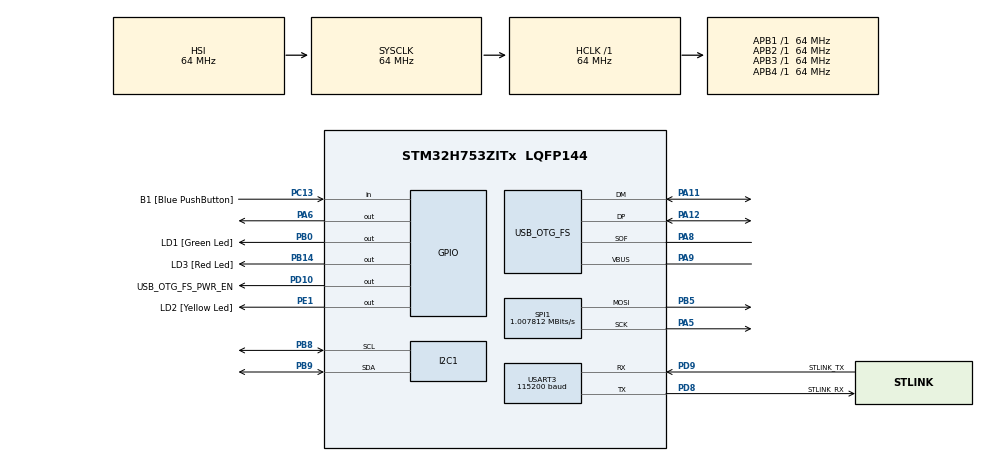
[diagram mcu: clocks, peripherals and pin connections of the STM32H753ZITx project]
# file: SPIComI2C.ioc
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CORTEX_M7.CPU_DCache=Disabled
CORTEX_M7.CPU_ICache=Disabled
CORTEX_M7.MPU_Control=__NULL
Mcu.Family=STM32H7
Mcu.Name=STM32H753ZITx
Mcu.Package=LQFP144
NVIC.I2C1_ER_IRQn=true\:0\:0\:false\:false\:true\:true\:true\:true
NVIC.I2C1_EV_IRQn=true\:0\:0\:false\:false\:true\:true\:true\:true
NVIC.PriorityGroup=NVIC_PRIORITYGROUP_4
NVIC.SPI1_IRQn=true\:0\:0\:false\:false\:true\:true\:true\:true
PA1.Signal=ETH_REF_CLK
PA11.Mode=Device_Only
PA11.Signal=USB_OTG_FS_DM
PA12.Mode=Device_Only
PA12.Signal=USB_OTG_FS_DP
PA2.Signal=ETH_MDIO
PA5.GPIO_Speed=GPIO_SPEED_FREQ_LOW
PA5.Mode=TX_Only_Simplex_Unidirect_Master
PA5.Signal=SPI1_SCK
PA6.GPIO_Speed=GPIO_SPEED_FREQ_VERY_HIGH
PA6.PinState=GPIO_PIN_SET
PA6.Signal=GPIO_Output
PA8.Mode=Activate_SOF_FS
PA8.Signal=USB_OTG_FS_SOF
PA9.Mode=Activate_VBUS
PA9.Signal=USB_OTG_FS_VBUS
PB0.GPIO_Label=LD1 [Green Led]
PB0.Signal=GPIO_Output
PB13.Signal=ETH_TXD1
PB14.GPIO_Label=LD3 [Red Led]
PB14.Signal=GPIO_Output
PB5.GPIO_Speed=GPIO_SPEED_FREQ_LOW
PB5.Mode=TX_Only_Simplex_Unidirect_Master
PB5.Signal=SPI1_MOSI
PB8.GPIO_Speed=GPIO_SPEED_FREQ_VERY_HIGH
PB8.Mode=I2C
PB8.Signal=I2C1_SCL
PB9.GPIO_Speed=GPIO_SPEED_FREQ_VERY_HIGH
PB9.Mode=I2C
PB9.Signal=I2C1_SDA
PC1.Signal=ETH_MDC
PC13.GPIO_Label=B1 [Blue PushButton]
PC13.Signal=GPIO_Input
PC14-OSC32_IN\ (OSC32_IN).Mode=LSE-External-Oscillator
PC14-OSC32_IN\ (OSC32_IN).Signal=RCC_OSC32_IN
PC15-OSC32_OUT\ (OSC32_OUT).Mode=LSE-External-Oscillator
PC15-OSC32_OUT\ (OSC32_OUT).Signal=RCC_OSC32_OUT
PC4.Signal=ETH_RXD0
PC5.Signal=ETH_RXD1
PD10.GPIO_Label=USB_OTG_FS_PWR_EN
PD10.Signal=GPIO_Output
PD8.GPIO_Label=STLINK_RX
PD8.Mode=Asynchronous
PD8.Signal=USART3_TX
PD9.GPIO_Label=STLINK_TX
PD9.Mode=Asynchronous
PD9.Signal=USART3_RX
PE1.GPIO_Label=LD2 [Yellow Led]
PE1.Signal=GPIO_Output
PG11.Signal=ETH_TX_EN
PG13.Signal=ETH_TXD0
PH0-OSC_IN\ (PH0).Mode=HSE-External-Clock-Source
PH0-OSC_IN\ (PH0).Signal=RCC_OSC_IN
PH1-OSC_OUT\ (PH1).Signal=RCC_OSC_OUT
ProjectManager.HeapSize=0x200
ProjectManager.StackSize=0x400
ProjectManager.TargetToolchain=STM32CubeIDE
RCC.ADCFreq_Value=129000000
RCC.APB1Freq_Value=64000000
RCC.APB2Freq_Value=64000000
RCC.APB3Freq_Value=64000000
RCC.APB4Freq_Value=64000000
RCC.CortexFreq_Value=64000000
RCC.DIVM1=1
RCC.DIVM2=1
RCC.DIVN1=19
RCC.DIVN2=32
RCC.DIVQ1=3
RCC.HCLKFreq_Value=64000000
RCC.HSE_VALUE=8000000
RCC.PLL2FRACN=2048
RCC.PLLFRACN=0
RCC.PWR_Regulator_Voltage_Scale=PWR_REGULATOR_VOLTAGE_SCALE2
RCC.SPI123CLockSelection=RCC_SPI123CLKSOURCE_PLL2
RCC.SYSCLKFreq_VALUE=64000000
RCC.USBFreq_Value=50666666.666666664
SPI1.BaudRatePrescaler=SPI_BAUDRATEPRESCALER_128
SPI1.CalculateBaudRate=1.007812 MBits/s
SPI1.DataSize=SPI_DATASIZE_8BIT
SPI1.Direction=SPI_DIRECTION_2LINES_TXONLY
SPI1.Mode=SPI_MODE_MASTER
SPI1.VirtualType=VM_MASTER
USART3.AutoBaudRateEnableParam=UART_ADVFEATURE_AUTOBAUDRATE_DISABLE
USART3.BaudRate=115200
USART3.ClockPrescaler=PRESCALER_DIV1
USART3.DMADisableonRxErrorParam=ADVFEATURE_DMA_ENABLEONRXERROR
USART3.DataInvertParam=ADVFEATURE_DATAINV_DISABLE
USART3.FIFOMode=FIFOMODE_DISABLE
USART3.MSBFirstParam=ADVFEATURE_MSBFIRST_DISABLE
USART3.Mode=MODE_TX_RX
USART3.OneBitSampling=UART_ONE_BIT_SAMPLE_DISABLE
USART3.OverSampling=UART_OVERSAMPLING_16
USART3.OverrunDisableParam=ADVFEATURE_OVERRUN_ENABLE
USART3.Parity=PARITY_NONE
USART3.RXFIFOThreshold=RXFIFO_THRESHOLD_1EIGHTHFULL
USART3.RxPinLevelInvertParam=ADVFEATURE_RXINV_DISABLE
USART3.StopBits=STOPBITS_1
USART3.SwapParam=ADVFEATURE_SWAP_DISABLE
USART3.TXFIFOThreshold=TXFIFO_THRESHOLD_1EIGHTHFULL
USART3.TxPinLevelInvertParam=ADVFEATURE_TXINV_DISABLE
USART3.VirtualMode-Asynchronous=VM_ASYNC
USART3.WordLength=WORDLENGTH_8B
USB_OTG_FS.Sof_enable=ENABLE
USB_OTG_FS.VirtualMode=Device_Only
USB_OTG_FS.battery_charging_enable=ENABLE
USB_OTG_FS.low_power_enable=DISABLE
USB_OTG_FS.lpm_enable=DISABLE
USB_OTG_FS.use_dedicated_ep1=DISABLE
USB_OTG_FS.vbus_sensing_enable=ENABLE
VP_MEMORYMAP_VS_MEMORYMAP.Mode=CurAppReg
board=NUCLEO-H753ZI

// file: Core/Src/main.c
/* USER CODE BEGIN Header */
/**
  ******************************************************************************
  * @file           : main.c
  * @brief          : Main program body
  ******************************************************************************
  * @attention
  *
  * Copyright (c) 2024 STMicroelectronics.
  * All rights reserved.
  *
  * This software is licensed under terms that can be found in the LICENSE file
  * in the root directory of this software component.
  * If no LICENSE file comes with this software, it is provided AS-IS.
  *
  ******************************************************************************
  */
/* USER CODE END Header */
#include "main.h"

/* USER CODE BEGIN PD */
//Definir registradores da Matriz Led
#define MAX7219_REG_NOOP 0x00
#define MAX7219_REG_DIGIT0 0x01
#define MAX7219_REG_DIGIT1 0x02
#define MAX7219_REG_DIGIT2 0x03
#define MAX7219_REG_DIGIT3 0x04
#define MAX7219_REG_DIGIT4 0x05
#define MAX7219_REG_DIGIT5 0x06
#define MAX7219_REG_DIGIT6 0x07
#define MAX7219_REG_DIGIT7 0x08
#define MAX7219_REG_DECODEMODE 0x09
#define MAX7219_REG_INTENSITY 0x0A
#define MAX7219_REG_SCANLIMIT 0x0B
#define MAX7219_REG_SHUTDOWN 0x0C
#define MAX7219_REG_DISPLAYTEST 0x0F
#define PCF8591_ADDRESS 0x48 << 1 // PFC8591 IC2 Address (shifted for STM32 HAL)
/* USER CODE END PD */

I2C_HandleTypeDef hi2c1;

SPI_HandleTypeDef hspi1;

UART_HandleTypeDef huart3;

PCD_HandleTypeDef hpcd_USB_OTG_FS;

void SystemClock_Config(void);
static void MX_GPIO_Init(void);
static void MX_USART3_UART_Init(void);
static void MX_USB_OTG_FS_PCD_Init(void);
static void MX_I2C1_Init(void);
static void MX_SPI1_Init(void);
/* USER CODE BE	GIN PFP */
const uint8_t ascii_font[5][8] = {
		{0x00,0x08,0x14,0x22,0x22,0x22,0x22,0x00},/*V*/
		{0x00,0x08,0x08,0x08,0x08,0x08,0x3E,0x00},/*T*/
		{0x00,0x3C,0x04,0x04,0x04,0x04,0x04,0x00},/*L*/
		{0x00,0x08,0x08,0x3E,0x08,0x08,0x00,0x00}, /* + */
		{0x00,0x00,0x00,0x3E,0x00,0x00,0x00,0x00}  /* - */
};

const uint8_t Init_Commands[5][2]={
		{0x09,0x00},
		{0x0A,0x00},
		{0x0B,0x07},
		{0x0C,0x01},
		{0x0F,0x00}
};

uint8_t shutDown[2];
uint8_t PCF8591_ReadAnalog(uint8_t channel);
uint8_t rxBuffer[12];
char stringBuffer[12];
/* USER CODE END PFP */

int main(void)
{

  /* MCU Configuration--------------------------------------------------------*/

  /* Reset of all peripherals, Initializes the Flash interface and the Systick. */
  HAL_Init();

  /* Configure the system clock */
  SystemClock_Config();

  /* Initialize all configured peripherals */
  MX_GPIO_Init();
  MX_USART3_UART_Init();
  MX_USB_OTG_FS_PCD_Init();
  MX_I2C1_Init();
  MX_SPI1_Init();
  /* USER CODE BEGIN 2 */

  	  	  void MAX7219_SendData(uint8_t reg, uint8_t data) {
  	  	  uint8_t txData[2] = {reg, data};
  	  	  HAL_GPIO_WritePin(GPIOA, GPIO_PIN_6, GPIO_PIN_RESET); // Pull CS low
  	  	  HAL_Delay(10);
  	  	  HAL_SPI_Transmit_IT(&hspi1, txData, 2); // Transmit register and data
  	  	  HAL_Delay(10);
  	  	  HAL_GPIO_WritePin(GPIOA, GPIO_PIN_6, GPIO_PIN_SET); // Pull CS high
  	  	  HAL_Delay(10);
  	  	  }

  	  	  void DisplayCharacter(uint8_t character) {
  	  	  uint8_t charIndex = character - 32; // ASCII offset
  	  	  for (int i = 0; i < 8; i++) {
  	  	  MAX7219_SendData(MAX7219_REG_DIGIT0 + i, ascii_font[charIndex][i]);
  	  	  }
  	  	  }

  	  	void MAX72_Init_F(void)
  	  	{
  	  		uint8_t i=0;
  	  		for(i=0;i<5;i++)
  	  		{
  	  			shutDown[0]=Init_Commands[i][0];
  	  			shutDown[1]=Init_Commands[i][1];
  	  			HAL_GPIO_WritePin(GPIOA, GPIO_PIN_6, GPIO_PIN_RESET);
  	  			HAL_SPI_Transmit_IT(&hspi1,shutDown,2);
  	  			HAL_Delay(10);
  	  			HAL_GPIO_WritePin(GPIOA,GPIO_PIN_6, GPIO_PIN_SET);
  	  			HAL_Delay(10);
  	  			HAL_GPIO_WritePin(GPIOA,GPIO_PIN_6, GPIO_PIN_RESET);
  	  			HAL_Delay(10);
  	  		}
  	  	}

  	  	MAX72_Init_F();

  	  char welcomeMsg[] = "Digite um comando:\r\n";
  	  HAL_UART_Transmit_IT(&huart3, (uint8_t *)welcomeMsg, strlen(welcomeMsg));
  	  //Receive_IT inicial para permitir que a placa receba um
  	  HAL_UART_Receive_IT(&huart3, rxBuffer, 12);

  /* USER CODE END 2 */

  /* Infinite loop */
  /* USER CODE BEGIN WHILE */
  while (1)
  {

	  HAL_Delay(1000);
	  strncpy(stringBuffer, rxBuffer, 12);

	  //Func para pegar o valor de voltagem e exibir qual o simbolo represent esse valor e se é maior ou menor que 128
	  if(strcmp(stringBuffer, "Temp", 4) == 0){
		  uint8_t Temp= PCF8591_ReadAnalog(1);
		  DisplayCharacter(' ' +1);
	      HAL_Delay(500);
	      if(Temp<128){
	          DisplayCharacter(' ' +3);
	          HAL_Delay(400);
	      }else{
	          DisplayCharacter(' ' +4);
	          HAL_Delay(400);
	      }

	  }if(strcmp(stringBuffer, "Volt", 4) == 0){
		  uint8_t Volt= PCF8591_ReadAnalog(3);
		  DisplayCharacter(' ' +0);
		  HAL_Delay(500);
	      if(Volt<128){
	        DisplayCharacter(' ' +3);
	        HAL_Delay(400);
	      }else{
		    DisplayCharacter(' ' +4);
	        HAL_Delay(400);
		  }

	  }if(strcmp(stringBuffer, "LDR", 4) == 0){
			uint8_t LDR= PCF8591_ReadAnalog(3);
	  		DisplayCharacter(' ' +2);
		    HAL_Delay(500);
		    if(LDR<128){
		        DisplayCharacter(' ' +3);
		        HAL_Delay(400);
		     }else{
		        DisplayCharacter(' ' +4);
		        HAL_Delay(400);
		     }
	  }

	  if(strncmp(stringBuffer,"Set_DAC_",8)==0){
		  uint8_t value = (uint8_t)atoi((char*)&stringBuffer[8]);
		  set_dac(value);

	  }
    /* USER CODE END WHILE */

  }
}

void SystemClock_Config(void)
{
  RCC_OscInitTypeDef RCC_OscInitStruct = {0};
  RCC_ClkInitTypeDef RCC_ClkInitStruct = {0};

  /** Supply configuration update enable
  */
  HAL_PWREx_ConfigSupply(PWR_LDO_SUPPLY);

  /** Configure the main internal regulator output voltage
  */
  __HAL_PWR_VOLTAGESCALING_CONFIG(PWR_REGULATOR_VOLTAGE_SCALE2);

  while(!__HAL_PWR_GET_FLAG(PWR_FLAG_VOSRDY)) {}

  /** Initializes the RCC Oscillators according to the specified parameters
  * in the RCC_OscInitTypeDef structure.
  */
  RCC_OscInitStruct.OscillatorType = RCC_OSCILLATORTYPE_HSI|RCC_OSCILLATORTYPE_HSE;
  RCC_OscInitStruct.HSEState = RCC_HSE_BYPASS;
  RCC_OscInitStruct.HSIState = RCC_HSI_DIV1;
  RCC_OscInitStruct.HSICalibrationValue = RCC_HSICALIBRATION_DEFAULT;
  RCC_OscInitStruct.PLL.PLLState = RCC_PLL_ON;
  RCC_OscInitStruct.PLL.PLLSource = RCC_PLLSOURCE_HSE;
  RCC_OscInitStruct.PLL.PLLM = 1;
  RCC_OscInitStruct.PLL.PLLN = 19;
  RCC_OscInitStruct.PLL.PLLP = 2;
  RCC_OscInitStruct.PLL.PLLQ = 3;
  RCC_OscInitStruct.PLL.PLLR = 2;
  RCC_OscInitStruct.PLL.PLLRGE = RCC_PLL1VCIRANGE_3;
  RCC_OscInitStruct.PLL.PLLVCOSEL = RCC_PLL1VCOMEDIUM;
  RCC_OscInitStruct.PLL.PLLFRACN = 0;
  if (HAL_RCC_OscConfig(&RCC_OscInitStruct) != HAL_OK)
  {
    Error_Handler();
  }

  /** Initializes the CPU, AHB and APB buses clocks
  */
  RCC_ClkInitStruct.ClockType = RCC_CLOCKTYPE_HCLK|RCC_CLOCKTYPE_SYSCLK
                              |RCC_CLOCKTYPE_PCLK1|RCC_CLOCKTYPE_PCLK2
                              |RCC_CLOCKTYPE_D3PCLK1|RCC_CLOCKTYPE_D1PCLK1;
  RCC_ClkInitStruct.SYSCLKSource = RCC_SYSCLKSOURCE_HSI;
  RCC_ClkInitStruct.SYSCLKDivider = RCC_SYSCLK_DIV1;
  RCC_ClkInitStruct.AHBCLKDivider = RCC_HCLK_DIV1;
  RCC_ClkInitStruct.APB3CLKDivider = RCC_APB3_DIV1;
  RCC_ClkInitStruct.APB1CLKDivider = RCC_APB1_DIV1;
  RCC_ClkInitStruct.APB2CLKDivider = RCC_APB2_DIV1;
  RCC_ClkInitStruct.APB4CLKDivider = RCC_APB4_DIV1;

  if (HAL_RCC_ClockConfig(&RCC_ClkInitStruct, FLASH_LATENCY_1) != HAL_OK)
  {
    Error_Handler();
  }
}

static void MX_I2C1_Init(void)
{

  hi2c1.Instance = I2C1;
  hi2c1.Init.Timing = 0x10707DBC;
  hi2c1.Init.OwnAddress1 = 0;
  hi2c1.Init.AddressingMode = I2C_ADDRESSINGMODE_7BIT;
  hi2c1.Init.DualAddressMode = I2C_DUALADDRESS_DISABLE;
  hi2c1.Init.OwnAddress2 = 0;
  hi2c1.Init.OwnAddress2Masks = I2C_OA2_NOMASK;
  hi2c1.Init.GeneralCallMode = I2C_GENERALCALL_DISABLE;
  hi2c1.Init.NoStretchMode = I2C_NOSTRETCH_DISABLE;
  if (HAL_I2C_Init(&hi2c1) != HAL_OK)
  {
    Error_Handler();
  }

  /** Configure Analogue filter
  */
  if (HAL_I2CEx_ConfigAnalogFilter(&hi2c1, I2C_ANALOGFILTER_ENABLE) != HAL_OK)
  {
    Error_Handler();
  }

  /** Configure Digital filter
  */
  if (HAL_I2CEx_ConfigDigitalFilter(&hi2c1, 0) != HAL_OK)
  {
    Error_Handler();
  }

}

static void MX_SPI1_Init(void)
{

  /* SPI1 parameter configuration*/
  hspi1.Instance = SPI1;
  hspi1.Init.Mode = SPI_MODE_MASTER;
  hspi1.Init.Direction = SPI_DIRECTION_2LINES_TXONLY;
  hspi1.Init.DataSize = SPI_DATASIZE_8BIT;
  hspi1.Init.CLKPolarity = SPI_POLARITY_LOW;
  hspi1.Init.CLKPhase = SPI_PHASE_1EDGE;
  hspi1.Init.NSS = SPI_NSS_SOFT;
  hspi1.Init.BaudRatePrescaler = SPI_BAUDRATEPRESCALER_128;
  hspi1.Init.FirstBit = SPI_FIRSTBIT_MSB;
  hspi1.Init.TIMode = SPI_TIMODE_DISABLE;
  hspi1.Init.CRCCalculation = SPI_CRCCALCULATION_DISABLE;
  hspi1.Init.CRCPolynomial = 0x0;
  hspi1.Init.NSSPMode = SPI_NSS_PULSE_ENABLE;
  hspi1.Init.NSSPolarity = SPI_NSS_POLARITY_LOW;
  hspi1.Init.FifoThreshold = SPI_FIFO_THRESHOLD_01DATA;
  hspi1.Init.TxCRCInitializationPattern = SPI_CRC_INITIALIZATION_ALL_ZERO_PATTERN;
  hspi1.Init.RxCRCInitializationPattern = SPI_CRC_INITIALIZATION_ALL_ZERO_PATTERN;
  hspi1.Init.MasterSSIdleness = SPI_MASTER_SS_IDLENESS_00CYCLE;
  hspi1.Init.MasterInterDataIdleness = SPI_MASTER_INTERDATA_IDLENESS_00CYCLE;
  hspi1.Init.MasterReceiverAutoSusp = SPI_MASTER_RX_AUTOSUSP_DISABLE;
  hspi1.Init.MasterKeepIOState = SPI_MASTER_KEEP_IO_STATE_DISABLE;
  hspi1.Init.IOSwap = SPI_IO_SWAP_DISABLE;
  if (HAL_SPI_Init(&hspi1) != HAL_OK)
  {
    Error_Handler();
  }

}

static void MX_USART3_UART_Init(void)
{

  huart3.Instance = USART3;
  huart3.Init.BaudRate = 115200;
  huart3.Init.WordLength = UART_WORDLENGTH_8B;
  huart3.Init.StopBits = UART_STOPBITS_1;
  huart3.Init.Parity = UART_PARITY_NONE;
  huart3.Init.Mode = UART_MODE_TX_RX;
  huart3.Init.HwFlowCtl = UART_HWCONTROL_NONE;
  huart3.Init.OverSampling = UART_OVERSAMPLING_16;
  huart3.Init.OneBitSampling = UART_ONE_BIT_SAMPLE_DISABLE;
  huart3.Init.ClockPrescaler = UART_PRESCALER_DIV1;
  huart3.AdvancedInit.AdvFeatureInit = UART_ADVFEATURE_NO_INIT;
  if (HAL_UART_Init(&huart3) != HAL_OK)
  {
    Error_Handler();
  }
  if (HAL_UARTEx_SetTxFifoThreshold(&huart3, UART_TXFIFO_THRESHOLD_1_8) != HAL_OK)
  {
    Error_Handler();
  }
  if (HAL_UARTEx_SetRxFifoThreshold(&huart3, UART_RXFIFO_THRESHOLD_1_8) != HAL_OK)
  {
    Error_Handler();
  }
  if (HAL_UARTEx_DisableFifoMode(&huart3) != HAL_OK)
  {
    Error_Handler();
  }

}

static void MX_USB_OTG_FS_PCD_Init(void)
{

  hpcd_USB_OTG_FS.Instance = USB_OTG_FS;
  hpcd_USB_OTG_FS.Init.dev_endpoints = 9;
  hpcd_USB_OTG_FS.Init.speed = PCD_SPEED_FULL;
  hpcd_USB_OTG_FS.Init.dma_enable = DISABLE;
  hpcd_USB_OTG_FS.Init.phy_itface = PCD_PHY_EMBEDDED;
  hpcd_USB_OTG_FS.Init.Sof_enable = ENABLE;
  hpcd_USB_OTG_FS.Init.low_power_enable = DISABLE;
  hpcd_USB_OTG_FS.Init.lpm_enable = DISABLE;
  hpcd_USB_OTG_FS.Init.battery_charging_enable = ENABLE;
  hpcd_USB_OTG_FS.Init.vbus_sensing_enable = ENABLE;
  hpcd_USB_OTG_FS.Init.use_dedicated_ep1 = DISABLE;
  if (HAL_PCD_Init(&hpcd_USB_OTG_FS) != HAL_OK)
  {
    Error_Handler();
  }

}

static void MX_GPIO_Init(void)
{
  GPIO_InitTypeDef GPIO_InitStruct = {0};

  /* GPIO Ports Clock Enable */
  __HAL_RCC_GPIOC_CLK_ENABLE();
  __HAL_RCC_GPIOH_CLK_ENABLE();
  __HAL_RCC_GPIOA_CLK_ENABLE();
  __HAL_RCC_GPIOB_CLK_ENABLE();
  __HAL_RCC_GPIOD_CLK_ENABLE();
  __HAL_RCC_GPIOG_CLK_ENABLE();
  __HAL_RCC_GPIOE_CLK_ENABLE();

  /*Configure GPIO pin Output Level */
  HAL_GPIO_WritePin(GPIOA, GPIO_PIN_6, GPIO_PIN_SET);

  /*Configure GPIO pin Output Level */
  HAL_GPIO_WritePin(GPIOB, LD1_Pin|LD3_Pin, GPIO_PIN_RESET);

  /*Configure GPIO pin Output Level */
  HAL_GPIO_WritePin(USB_OTG_FS_PWR_EN_GPIO_Port, USB_OTG_FS_PWR_EN_Pin, GPIO_PIN_RESET);

  /*Configure GPIO pin Output Level */
  HAL_GPIO_WritePin(LD2_GPIO_Port, LD2_Pin, GPIO_PIN_RESET);

  /*Configure GPIO pin : B1_Pin */
  GPIO_InitStruct.Pin = B1_Pin;
  GPIO_InitStruct.Mode = GPIO_MODE_INPUT;
  GPIO_InitStruct.Pull = GPIO_NOPULL;
  HAL_GPIO_Init(B1_GPIO_Port, &GPIO_InitStruct);

  /*Configure GPIO pins : PC1 PC4 PC5 */
  GPIO_InitStruct.Pin = GPIO_PIN_1|GPIO_PIN_4|GPIO_PIN_5;
  GPIO_InitStruct.Mode = GPIO_MODE_AF_PP;
  GPIO_InitStruct.Pull = GPIO_NOPULL;
  GPIO_InitStruct.Speed = GPIO_SPEED_FREQ_LOW;
  GPIO_InitStruct.Alternate = GPIO_AF11_ETH;
  HAL_GPIO_Init(GPIOC, &GPIO_InitStruct);

  /*Configure GPIO pins : PA1 PA2 */
  GPIO_InitStruct.Pin = GPIO_PIN_1|GPIO_PIN_2;
  GPIO_InitStruct.Mode = GPIO_MODE_AF_PP;
  GPIO_InitStruct.Pull = GPIO_NOPULL;
  GPIO_InitStruct.Speed = GPIO_SPEED_FREQ_LOW;
  GPIO_InitStruct.Alternate = GPIO_AF11_ETH;
  HAL_GPIO_Init(GPIOA, &GPIO_InitStruct);

  /*Configure GPIO pin : PA6 */
  GPIO_InitStruct.Pin = GPIO_PIN_6;
  GPIO_InitStruct.Mode = GPIO_MODE_OUTPUT_PP;
  GPIO_InitStruct.Pull = GPIO_NOPULL;
  GPIO_InitStruct.Speed = GPIO_SPEED_FREQ_VERY_HIGH;
  HAL_GPIO_Init(GPIOA, &GPIO_InitStruct);

  /*Configure GPIO pins : LD1_Pin LD3_Pin */
  GPIO_InitStruct.Pin = LD1_Pin|LD3_Pin;
  GPIO_InitStruct.Mode = GPIO_MODE_OUTPUT_PP;
  GPIO_InitStruct.Pull = GPIO_NOPULL;
  GPIO_InitStruct.Speed = GPIO_SPEED_FREQ_LOW;
  HAL_GPIO_Init(GPIOB, &GPIO_InitStruct);

  /*Configure GPIO pin : PB13 */
  GPIO_InitStruct.Pin = GPIO_PIN_13;
  GPIO_InitStruct.Mode = GPIO_MODE_AF_PP;
  GPIO_InitStruct.Pull = GPIO_NOPULL;
  GPIO_InitStruct.Speed = GPIO_SPEED_FREQ_LOW;
  GPIO_InitStruct.Alternate = GPIO_AF11_ETH;
  HAL_GPIO_Init(GPIOB, &GPIO_InitStruct);

  /*Configure GPIO pin : USB_OTG_FS_PWR_EN_Pin */
  GPIO_InitStruct.Pin = USB_OTG_FS_PWR_EN_Pin;
  GPIO_InitStruct.Mode = GPIO_MODE_OUTPUT_PP;
  GPIO_InitStruct.Pull = GPIO_NOPULL;
  GPIO_InitStruct.Speed = GPIO_SPEED_FREQ_LOW;
  HAL_GPIO_Init(USB_OTG_FS_PWR_EN_GPIO_Port, &GPIO_InitStruct);

  /*Configure GPIO pins : PG11 PG13 */
  GPIO_InitStruct.Pin = GPIO_PIN_11|GPIO_PIN_13;
  GPIO_InitStruct.Mode = GPIO_MODE_AF_PP;
  GPIO_InitStruct.Pull = GPIO_NOPULL;
  GPIO_InitStruct.Speed = GPIO_SPEED_FREQ_LOW;
  GPIO_InitStruct.Alternate = GPIO_AF11_ETH;
  HAL_GPIO_Init(GPIOG, &GPIO_InitStruct);

  /*Configure GPIO pin : LD2_Pin */
  GPIO_InitStruct.Pin = LD2_Pin;
  GPIO_InitStruct.Mode = GPIO_MODE_OUTPUT_PP;
  GPIO_InitStruct.Pull = GPIO_NOPULL;
  GPIO_InitStruct.Speed = GPIO_SPEED_FREQ_LOW;
  HAL_GPIO_Init(LD2_GPIO_Port, &GPIO_InitStruct);

}

/* USER CODE BEGIN 4 */
uint8_t PCF8591_ReadAnalog(uint8_t channel){

	uint8_t config_byte = 0x40 | (channel & 0x03);
	uint8_t analog_data[2];

	//Transmitir comando para o sensor
	HAL_I2C_Master_Transmit_IT(&hi2c1,PCF8591_ADDRESS, &config_byte, 1);
	HAL_Delay(100);
	//Receber informação sobre o canal escolhido
	HAL_I2C_Master_Receive_IT(&hi2c1,PCF8591_ADDRESS, analog_data, 2);
	HAL_Delay(100);

	//Criar mensagem que será exibida no terminal
	char string[15];
	sprintf(string, "AIN%d: %d\n", channel, analog_data[1]);
	//Enviar mensagem
	HAL_UART_Transmit_IT(&huart3, (uint8_t*)string, strlen(string));
   HAL_Delay(100);

   // Limpar a memoria do buffer
   memset(rxBuffer, 0, 12);

   // Resetar pointeiro e counter
   huart3.pRxBuffPtr = rxBuffer;
   huart3.RxXferCount = 0; //
   memset(stringBuffer, 0, 12);
   HAL_UART_Receive_IT(&huart3, rxBuffer, 12);
   return analog_data[1];

}

void set_dac(uint8_t value){
	 uint8_t config_byte = 0x40;
	 uint8_t analog_data[2] = {config_byte, value};
	 //Transmitir comando para o sensor
	 HAL_I2C_Master_Transmit_IT(&hi2c1,(uint16_t)PCF8591_ADDRESS, analog_data, 2);
	 HAL_Delay(100);

	 //Criar mensagem que será exibida no terminal
	 char string[15];
	 sprintf(string, "Valor do DAC: %d\n", value);
	 //Enviar mensagem
	 HAL_UART_Transmit_IT(&huart3, (uint8_t*)string, strlen(string));
	 HAL_Delay(100);

	 // Limpar a memoria do buffer
	  memset(rxBuffer, 0, 12);
	 // Resetar o contador e o ponteiro do usart3
	  huart3.pRxBuffPtr = rxBuffer;
	  huart3.RxXferCount = 0;
	  memset(stringBuffer, 0, 12);
	  HAL_UART_Receive_IT(&huart3, rxBuffer, 12);
}

void HAL_UART_RxCpltCallback(UART_HandleTypeDef *huart){
		 // Limpar a memoria do buffer
		 memset(rxBuffer, 0, 12);
	    // Resetar o contador e o ponteiro do usart3
 	    huart3.pRxBuffPtr = rxBuffer;
 	    huart3.RxXferCount = 0;
 	    memset(stringBuffer, 0, 12);
		HAL_UART_Receive_IT(&huart3, rxBuffer, 12); // Reinicia a recepção

	 }
/* USER CODE END 4 */

void Error_Handler(void)
{
  __disable_irq();
  while (1)
  {
  }
}
